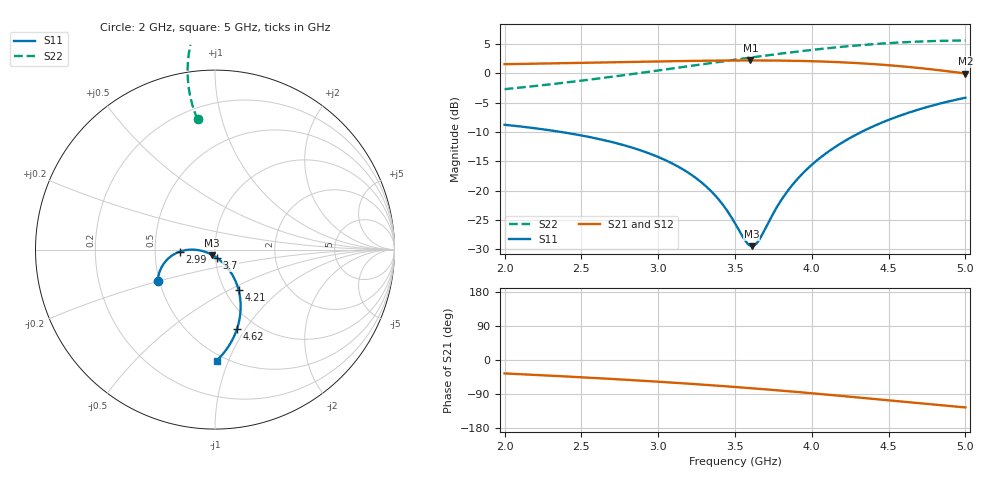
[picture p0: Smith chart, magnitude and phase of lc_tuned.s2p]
! Touchstone file exported from HFSS 2025.2.4
!  File:  C:/Users/hdung/OneDrive/Documents/261_KTSCT_L04_Nhom08/HFSS/Matching_EM3D_3p5GHz.aedt
!  Generated:  10:44:07 PM Nov 25, 2026
!  Design:  lc_tuned
!  Project:  Matching_EM3D_3p5GHz
!Data is not renormalized
# GHz S MA
! Terminal data exported
! Port[1] = P1
! Port[2] = P2
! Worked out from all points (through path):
!   301 points, 2 GHz to 5 GHz, reference per port
!   highest |S21| = 2.18 dB at 3.6 GHz (marker M1); lowest = -0.1 dB at 5 GHz (marker M2)
!   group delay of S21, straight-line fit = 84 ps
!   lowest |S11| = -29.5 dB at 3.61 GHz (marker M3), VSWR 1.07
!   |S11| at or under -10 dB: 2.367 GHz to 4.323 GHz (1.956 GHz wide, 58.5 % of centre)
!   |S22| runs from -2.7 to 5.6 dB; largest |S21 - S12| = 2.1e-14
!   S11 on the Smith chart (normalised r, x): 2 GHz: 0.49, -0.20; 2.99 GHz: 0.67, -0.02; 3.7 GHz: 1.02, -0.10; 4.21 GHz: 1.16, -0.56; 4.62 GHz: 0.82, -0.91; 5 GHz: 0.45, -0.91
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2  0.3642 -151.3  1.194 -35.4  1.194 -35.4  0.732 97.6
2.5  0.2952 -164.8  1.227 -45.6  1.227 -45.6  0.8652 99.2
2.77  0.2452 -171.7  1.246 -51.7  1.246 -51.7  0.9606 99.1
2.99  0.196 -176.7  1.261 -57.0  1.261 -57.0  1.052 98.3
3  0.1935 -176.9  1.262 -57.3  1.262 -57.3  1.056 98.2
3.16  0.1521 -179.5  1.271 -61.4  1.271 -61.4  1.13 97.2
3.3  0.1122 -179.6  1.279 -65.3  1.279 -65.3  1.199 95.9
3.41  0.07913 -175.8  1.283 -68.5  1.283 -68.5  1.256 94.7
3.5  0.05276 -164.6  1.285 -71.2  1.285 -71.2  1.305 93.6
3.56  0.03864 -145.9  1.286 -73.0  1.286 -73.0  1.337 92.7
3.6  0.0339 -124.9  1.286 -74.3  1.286 -74.3  1.36 92.1
3.61  0.03365 -118.9  1.286 -74.6  1.286 -74.6  1.365 92.0
3.65  0.03684 -95.9  1.286 -75.9  1.286 -75.9  1.387 91.3
3.7  0.04828 -76.0  1.285 -77.5  1.285 -77.5  1.415 90.5
3.77  0.0714 -62.6  1.283 -79.8  1.283 -79.8  1.454 89.3
3.84  0.09826 -57.3  1.279 -82.2  1.279 -82.2  1.493 88.0
4  0.1661 -55.4  1.267 -87.7  1.267 -87.7  1.58 84.7
4.21  0.2626 -59.9  1.237 -95.4  1.237 -95.4  1.687 79.8
4.5  0.4005 -69.8  1.171 -106.4  1.171 -106.4  1.806 72.4
4.62  0.4566 -74.3  1.135 -111.0  1.135 -111.0  1.843 69.1
4.8  0.5371 -81.4  1.072 -117.8  1.072 -117.8  1.882 64.2
5  0.6188 -89.2  0.9942 -125.2  0.9942 -125.2  1.903 58.7
